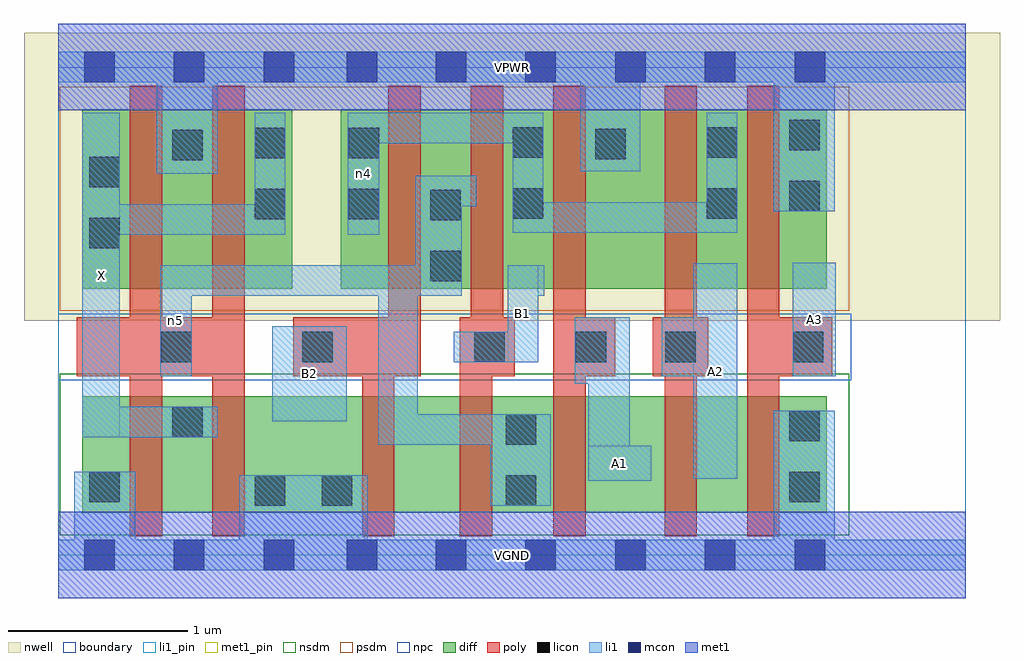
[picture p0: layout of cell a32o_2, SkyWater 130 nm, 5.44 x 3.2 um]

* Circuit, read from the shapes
.subckt a32o_2 A1 A2 A3 B1 B2 VGND VPWR X n4 n5
XM1 X n5 VGND VSUBS sky130_fd_pr__nfet_01v8 w=0.65 l=0.18 m=2
XM2 n1 B2 VGND VSUBS sky130_fd_pr__nfet_01v8 w=0.65 l=0.18
XM3 n5 B1 n1 VSUBS sky130_fd_pr__nfet_01v8 w=0.65 l=0.18
XM4 n2 A1 n5 VSUBS sky130_fd_pr__nfet_01v8 w=0.65 l=0.18
XM5 n3 A2 n2 VSUBS sky130_fd_pr__nfet_01v8 w=0.65 l=0.18
XM6 VGND A3 n3 VSUBS sky130_fd_pr__nfet_01v8 w=0.65 l=0.18
XM7 VPWR n5 X n6 sky130_fd_pr__pfet_01v8 w=1 l=0.18 m=2
XM8 n5 B2 n4 n6 sky130_fd_pr__pfet_01v8 w=1 l=0.18
XM9 n4 B1 n5 n6 sky130_fd_pr__pfet_01v8 w=1 l=0.18
XM10 VPWR A1 n4 n6 sky130_fd_pr__pfet_01v8 w=1 l=0.18
XM11 n4 A2 VPWR n6 sky130_fd_pr__pfet_01v8 w=1 l=0.18
XM12 VPWR A3 n4 n6 sky130_fd_pr__pfet_01v8 w=1 l=0.18
.ends

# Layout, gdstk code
import gdstk
lib = gdstk.Library(unit=1e-6, precision=1e-09)
def R(c, l, rs):  # rectangles x0, y0, x1, y1
    for r in rs: c.add(gdstk.rectangle(r[:2], r[2:], *l))
def A(c, l, x, y, w, h, nx, ny, dx, dy):  # array of equal rectangles
    R(c, l, [(x+i*dx, y+j*dy, x+i*dx+w, y+j*dy+h) for i in range(nx) for j in range(ny)])
nwell = (64, 20)
diff = (65, 20)
poly = (66, 20)
licon = (66, 44)
li1_pin = (67, 16)
li1 = (67, 20)
mcon = (67, 44)
met1_pin = (68, 16)
met1 = (68, 20)
nsdm = (93, 44)
psdm = (94, 20)
npc = (95, 20)
boundary = (235, 4)

a32o_2 = lib.new_cell('a32o_2')
R(a32o_2, nwell, [(-0.19,1.305,5.25,2.91), (0,1.305,5.06,2.91)])
R(a32o_2, diff, [(0.135,0.235,4.285,0.885), (0.135,1.485,1.305,2.485), (1.575,1.485,4.285,2.485)])
R(a32o_2, poly, [(0.4,0.105,0.58,2.615), (0.86,0.105,1.04,2.615), (1.695,0.105,1.875,1.325), (2.24,0.105,2.42,1.325), (2.76,0.105,2.94,2.615), (3.38,0.105,3.56,2.615), (3.84,0.105,4.02,2.615), (0.105,0.995,1.04,1.325), (1.31,0.995,2.02,1.325), (1.84,0.995,2.02,2.615), (2.24,0.995,2.545,1.325), (2.3,0.995,2.48,2.615), (2.76,0.995,3.105,1.325), (3.315,0.995,3.625,1.325), (3.84,0.995,4.315,1.325)])
R(a32o_2, licon, [(1.095,0.275,1.265,0.445), (1.47,0.275,1.64,0.445), (2.495,0.275,2.665,0.445), (0.175,0.295,0.345,0.465), (4.075,0.295,4.245,0.465), (2.495,0.615,2.665,0.785), (4.075,0.635,4.245,0.805), (0.635,0.655,0.805,0.825), (0.575,1.075,0.745,1.245), (1.36,1.075,1.53,1.245), (2.32,1.075,2.49,1.245), (2.885,1.075,3.055,1.245), (3.385,1.075,3.555,1.245), (4.095,1.075,4.265,1.245), (2.075,1.525,2.245,1.695), (0.175,1.71,0.345,1.88), (2.075,1.865,2.245,2.035), (1.095,1.87,1.265,2.04), (1.62,1.87,1.79,2.04), (2.535,1.875,2.705,2.045), (3.615,1.875,3.785,2.045), (4.075,1.915,4.245,2.085), (0.175,2.05,0.345,2.22), (0.635,2.2,0.805,2.37), (2.995,2.205,3.165,2.375), (1.095,2.21,1.265,2.38), (1.62,2.21,1.79,2.38), (2.535,2.215,2.705,2.385), (3.615,2.215,3.785,2.385), (4.075,2.255,4.245,2.425)])
R(a32o_2, li1_pin, [(2.955,0.415,3.305,0.61), (3.54,0.425,3.785,1.625), (0.135,0.655,0.345,2.465), (1.195,0.745,1.61,1.275), (4.095,0.995,4.335,1.63), (2.505,1.075,2.675,1.615)])
R(a32o_2, li1, [(0,-0.085,5.06,0.085), (0.09,-0.085,0.43,0.465), (1.01,-0.085,1.725,0.445), (3.99,-0.085,4.33,0.805), (2.41,0.275,2.745,0.785), (2.955,0.415,3.185,1.325), (2.955,0.415,3.305,0.61), (3.54,0.425,3.785,1.625), (1.785,0.615,2.005,1.615), (1.785,0.615,2.745,0.785), (0.135,0.655,0.345,2.465), (0.135,0.655,0.89,0.825), (1.195,0.745,1.61,1.275), (2.88,0.955,3.185,1.325), (0.57,0.995,0.745,1.615), (3.365,0.995,3.785,1.325), (4.095,0.995,4.335,1.63), (2.205,1.075,2.675,1.245), (2.505,1.075,2.675,1.615), (0.57,1.445,2.25,1.615), (1.99,1.445,2.25,2.115), (2.505,1.445,2.71,1.615), (0.135,1.785,1.265,1.955), (1.095,1.785,1.265,2.465), (1.615,1.785,1.79,2.465), (2.535,1.795,3.785,1.965), (2.535,1.795,2.705,2.465), (3.615,1.795,3.785,2.465), (3.99,1.915,4.33,2.805), (1.99,1.945,2.33,2.115), (0.55,2.125,0.89,2.805), (2.91,2.14,3.245,2.805), (1.615,2.295,2.705,2.465), (0,2.635,5.06,2.805)])
A(a32o_2, mcon, 0.145, -0.085, 0.17, 0.17, 3, 2, 0.5, 2.72)
A(a32o_2, mcon, 2.105, -0.085, 0.17, 0.17, 5, 2, 0.5, 2.72)
R(a32o_2, mcon, [(1.61,-0.085,1.78,0.085), (1.61,2.635,1.78,2.805)])
R(a32o_2, met1_pin, [(0,-0.24,5.06,0.24), (0,2.48,5.06,2.96)])
R(a32o_2, met1, [(0,-0.24,5.06,0.24), (0,2.48,5.06,2.96)])
R(a32o_2, nsdm, [(0.01,0.11,4.41,1.01)])
R(a32o_2, psdm, [(0.01,1.36,4.41,2.61)])
R(a32o_2, npc, [(0,0.975,4.42,1.345)])
R(a32o_2, boundary, [(0,0,5.06,2.72)])
a32o_2.add(gdstk.Label('A1', (3.13,0.512), layer=67, texttype=5))
a32o_2.add(gdstk.Label('A2', (3.662,1.025), layer=67, texttype=5))
a32o_2.add(gdstk.Label('A3', (4.215,1.312), layer=67, texttype=5))
a32o_2.add(gdstk.Label('B1', (2.59,1.345), layer=67, texttype=5))
a32o_2.add(gdstk.Label('B2', (1.402,1.01), layer=67, texttype=5))
a32o_2.add(gdstk.Label('X', (0.24,1.56), layer=67, texttype=5))
a32o_2.add(gdstk.Label('n5', (0.657,1.305), layer=67, texttype=5))
a32o_2.add(gdstk.Label('n4', (1.702,2.125), layer=67, texttype=5))
a32o_2.add(gdstk.Label('VPWR', (2.53,2.72), layer=68, texttype=5))
a32o_2.add(gdstk.Label('VGND', (2.53,0), layer=68, texttype=5))
a32o_2.add(gdstk.Label('A1', (3.13,0.512), layer=67, texttype=16))
a32o_2.add(gdstk.Label('A2', (3.662,1.025), layer=67, texttype=16))
a32o_2.add(gdstk.Label('A3', (4.215,1.312), layer=67, texttype=16))
a32o_2.add(gdstk.Label('B1', (2.59,1.345), layer=67, texttype=16))
a32o_2.add(gdstk.Label('B2', (1.402,1.01), layer=67, texttype=16))
a32o_2.add(gdstk.Label('X', (0.24,1.56), layer=67, texttype=16))
a32o_2.add(gdstk.Label('VPWR', (2.53,2.72), layer=68, texttype=16))
a32o_2.add(gdstk.Label('VGND', (2.53,0), layer=68, texttype=16))

lib.write_gds('a32o_2.gds')
